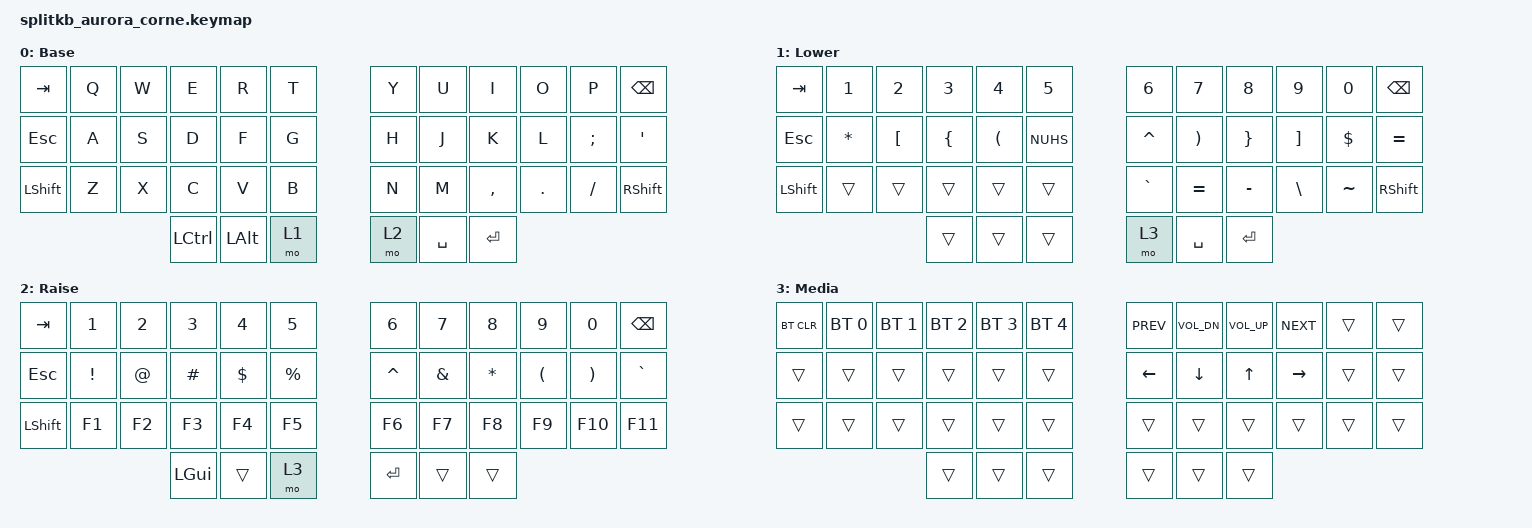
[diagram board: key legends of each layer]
/*
 * Copyright (c) 2020 The ZMK Contributors
 *
 * SPDX-License-Identifier: MIT
 */

#include <behaviors.dtsi>
#include <dt-bindings/zmk/keys.h>
#include <dt-bindings/zmk/bt.h>

/ {
        keymap {
                compatible = "zmk,keymap";

                default_layer {
// -----------------------------------------------------------------------------------------
// |  TAB |  Q  |  W  |  E  |  R  |  T  |   |  Y  |  U   |  I  |  O  |  P  | BKSP |
// |  ESC |  A  |  S  |  D  |  F  |  G  |   |  H  |  J   |  K  |  L  |  ;  | SQT  |
// | SHFT |  Z  |  X  |  C  |  V  |  B  |   |  N  |  M   |  ,  |  .  |  /  | SHFT |
//                    | CTL | ALT | LWR |   | RSE | SPC  | RET |
                        label = "Base";
                        bindings = <
   &kp TAB   &kp Q &kp W &kp E &kp R &kp T   &kp Y &kp U  &kp I     &kp O   &kp P    &kp BSPC
   &kp ESC   &kp A &kp S &kp D &kp F &kp G   &kp H &kp J  &kp K     &kp L   &kp SEMI &kp SQT
   &kp LSHFT &kp Z &kp X &kp C &kp V &kp B   &kp N &kp M  &kp COMMA &kp DOT &kp FSLH &kp RSHFT
                   &kp LCTRL &kp LALT &mo 1  &mo 2 &kp SPACE &kp RET
                        >;
                };

                lower_layer {
// -----------------------------------------------------------------------------------------
// |  TAB |  1  |  2  |  3  |  4  |  5  |   |  6  |  7  |  8  |  9  |  0  | BKSP |
// |  ESC |  *  |  [  |  {  |  (  |  #  |   |  ^  |  )  |  }  |  ]  |  $  | PLUS |
// | SHFT |     |     |     |     |     |   |  ~  |  =  |  -  |  \  |  ~  | SHFT |
//                    |     |     |     |   | LYR3| SPC | RET |
                        label = "Lower";
                        bindings = <
   &kp TAB     &kp N1    &kp N2    &kp N3    &kp N4    &kp N5         &kp N6    &kp N7    &kp N8    &kp N9   &kp N0    &kp BSPC
   &kp ESC     &kp STAR  &kp LBKT  &kp LBRC  &kp LPAR  &kp NUHS       &kp CARET &kp RPAR  &kp RBRC  &kp RBKT &kp DLLR  &kp EQUAL
   &kp LSHIFT  &trans    &trans    &trans    &trans    &trans         &kp GRAVE &kp EQUAL &kp MINUS &kp BSLH &kp TILDE &kp RSHIFT
                                   &trans    &trans    &trans         &mo 3     &kp SPACE &kp RET
                        >;
                };

                raise_layer {
// -----------------------------------------------------------------------------------------
// | TAB  |  1  |  2  |  3  |  4  |  5  |   | 6   | 7   |  8  | 9   |  O  |      |
// | ESC  |  !  |  @  |  #  |  $  |  %  |   |  ^  |  &  |  *  |  (  |  )  |  `   |
// | SHFT |  F1 |  F2 |  F3 |  F4 |  F5 |   | F6  | F7  |  F8 | F9  | F1O | F11  |
//                    | GUI |     | LYR3|   | ENT |     | TAP |
                        label = "Raise";
                        bindings = <
   &kp TAB   &kp N1   &kp N2 &kp N3   &kp N4   &kp N5         &kp N6    &kp N7    &kp N8   &kp N9    &kp N0   &kp BSPC
   &kp ESC   &kp EXCL &kp AT &kp HASH &kp DLLR &kp PRCNT      &kp CARET &kp AMPS  &kp STAR &kp LPAR  &kp RPAR &kp GRAVE
   &kp LSHFT &kp F1   &kp F2 &kp F3   &kp F4   &kp F5         &kp F6    &kp F7    &kp F8   &kp F9    &kp F10  &kp F11
                             &kp LGUI &trans   &mo 3          &kp RET   &trans    &trans
                        >;
                };

  adjust_layer {
// -----------------------------------------------------------------------------------------
// |BTCLR | BT1 | BT2 | BT3 | BT4 | BT5 |   |PREV |VDWN | VUP |NEXT |     |      |
// |      |     |     |     |     |     |   |LFT  | DWN | UP  | RGT |     |      |
// |      |     |     |     |     |     |   |     |     |     |     |     |      |
//                    |     |     |     |   |     |     |     |
                        label = "Media";
                        bindings = <
   &bt BT_CLR &bt BT_SEL 0 &bt BT_SEL 1 &bt BT_SEL 2 &bt BT_SEL 3 &bt BT_SEL 4      &kp C_PREV  &kp C_VOL_DN  &kp C_VOL_UP  &kp C_NEXT  &trans &trans
   &trans     &trans       &trans       &trans       &trans       &trans            &kp LEFT    &kp DOWN      &kp UP        &kp RIGHT   &trans &trans
   &trans     &trans       &trans       &trans       &trans       &trans            &trans      &trans        &trans        &trans      &trans &trans
                    	                  &trans       &trans       &trans            &trans      &trans        &trans
                        >;
                };
  };
};
